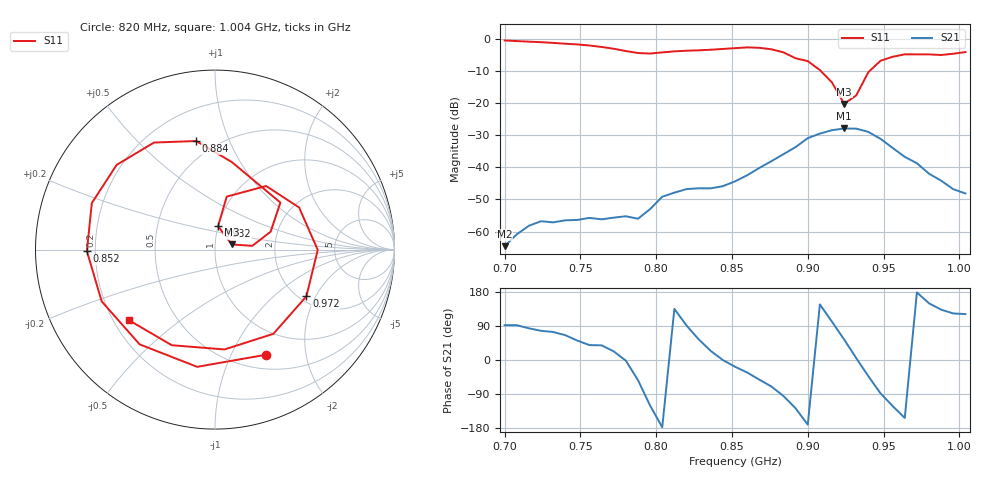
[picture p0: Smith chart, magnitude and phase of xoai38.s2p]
# Hz S RI R 50
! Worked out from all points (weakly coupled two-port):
!   39 points, 700 MHz to 1.004 GHz, reference 50 ohm
!   highest |S21| = -27.92 dB at 924 MHz (marker M1); lowest = -64.5 dB at 700 MHz (marker M2)
!   lowest |S11| = -20.3 dB at 924 MHz (marker M3), VSWR 1.22, Z = 60.1 + j3.5 ohm
!   |S11| at or under -10 dB: 908.5 MHz to 940.9 MHz (32.33 MHz wide, 3.5 % of centre)
!   S12 and S22 are empty: the file has one direction only
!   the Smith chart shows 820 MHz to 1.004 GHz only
!   S11 on the Smith chart (normalised r, x): 820 MHz: 0.67, -1.37; 852 MHz: 0.17, -0.01; 884 MHz: 0.39, +0.76; 932 MHz: 1.00, +0.27; 972 MHz: 2.18, -1.69; 1.004 GHz: 0.26, -0.33
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7e8  0.7605 0.5537  -1.96e-05 0.000593  0 0  0 0
7.24e8  0.8486 -0.2484  0.000324 0.00141  0 0  0 0
7.4e8  0.4589 -0.6996  0.000619 0.00136  0 0  0 0
7.56e8  -0.1926 -0.7612  0.00126 0.00104  0 0  0 0
7.72e8  -0.6688 -0.202  0.00152 0.000638  0 0  0 0
7.8e8  -0.6012 0.2298  0.00173 -5.5e-05  0 0  0 0
7.88e8  -0.2524 0.5444  0.000952 -0.00127  0 0  0 0
7.96e8  0.2442 0.5353  -0.00113 -0.00193  0 0  0 0
8.04e8  0.5844 0.1858  -0.00348 -0.00015  0 0  0 0
8.2e8  0.285 -0.5857  -9.09e-05 0.00458  0 0  0 0
8.36e8  -0.4201 -0.5279  0.00431 0.00191  0 0  0 0
8.52e8  -0.7138 -0.00866  0.00576 -0.00185  0 0  0 0
8.68e8  -0.548 0.472  0.00604 -0.00766  0 0  0 0
8.84e8  -0.1051 0.605  -0.00145 -0.016  0 0  0 0
9e8  0.3642 0.2621  -0.028 -0.00462  0 0  0 0
9.08e8  0.3102 0.0999  -0.028 0.0184  0 0  0 0
9.24e8  0.0928 0.0288  0.0236 0.0325  0 0  0 0
9.32e8  0.0171 0.1306  0.0398 0.00345  0 0  0 0
9.56e8  0.4687 0.2347  -0.0105 -0.0171  0 0  0 0
9.72e8  0.5092 -0.2606  -0.0116 0.000336  0 0  0 0
9.88e8  0.0532 -0.5562  -0.00422 0.00454  0 0  0 0
1.004e9  -0.4805 -0.3928  -0.00203 0.00335  0 0  0 0
